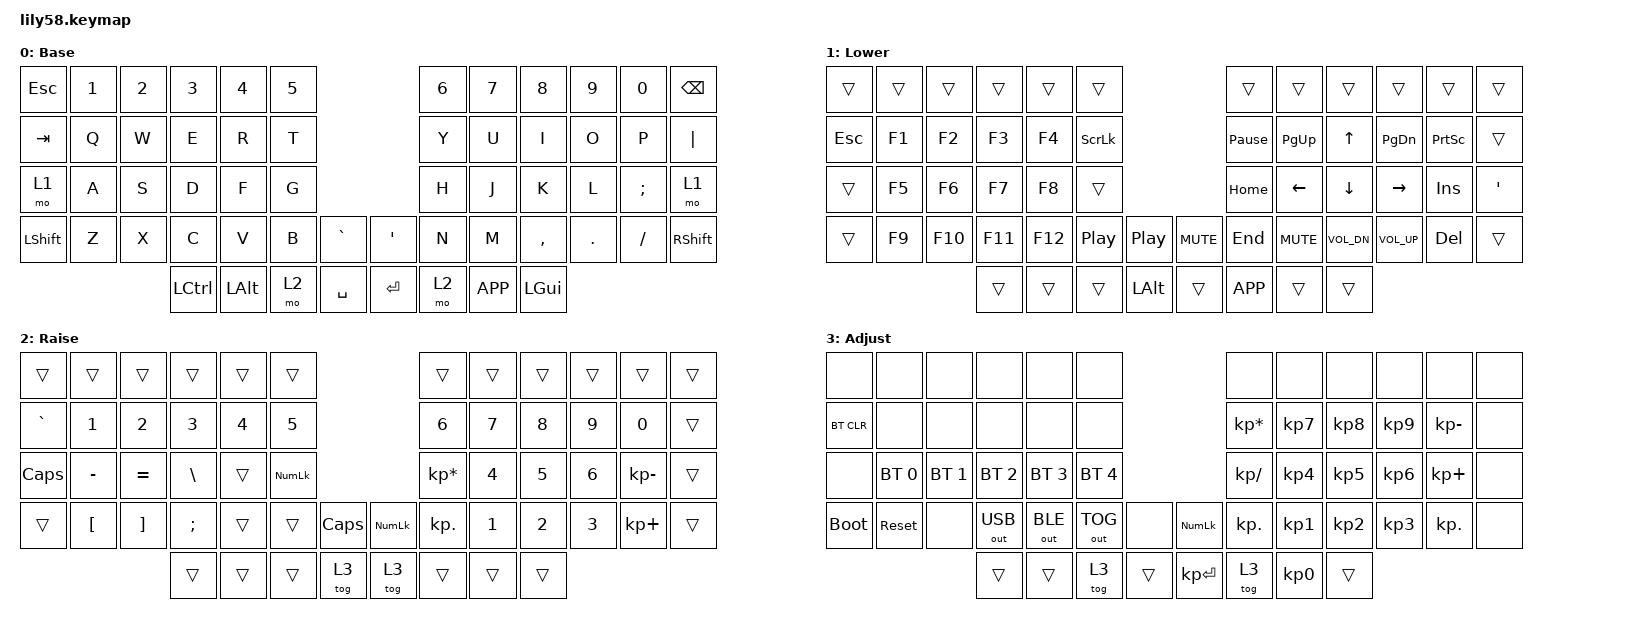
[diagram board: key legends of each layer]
/*
 * Copyright (c) 2020 The ZMK Contributors
 *
 * SPDX-License-Identifier: MIT
 */

#include <behaviors.dtsi>
#include <dt-bindings/zmk/keys.h>
#include <dt-bindings/zmk/bt.h>
#include <dt-bindings/zmk/ext_power.h>
#include <dt-bindings/zmk/outputs.h>

/ {
    keymap {
        compatible = "zmk,keymap";
        default_layer {
            label = "Base";
            bindings = <
//╭──────────┬──────────┬──────────┬──────────┬──────────┬──────────╮                         ╭──────────┬──────────┬──────────┬──────────┬──────────┬──────────╮
//│ ESC      │  1       │  2       │  3       │  4       │  5       │                         │  6       │  7       │  8       │  9       │  0       │BACKSPACE │
    &kp ESC    &kp N1     &kp N2     &kp N3     &kp N4     &kp N5                               &kp N6     &kp N7     &kp N8     &kp N9     &kp N0     &kp BSPC
//├──────────┼──────────┼──────────┼──────────┼──────────┤──────────┤                         ├──────────┼──────────┼──────────┼──────────┼──────────┤──────────┤
//│ TAB      │  Q       │  W       │  E       │  R       │  T       │                         │  Y       │  U       │  I       │  O       │  P       │  "|"     │
    &kp TAB    &kp Q      &kp W      &kp E      &kp R      &kp T                                &kp Y      &kp U      &kp I      &kp O      &kp P      &kp PIPE 
//├──────────┼──────────┼──────────┼──────────┼──────────┤──────────┤                         ├──────────┼──────────┼──────────┼──────────┼──────────┤──────────┤
//│ LOWER    │  A       │  S       │  D       │  F       │  G       │                         │  H       │  J       │  K       │  L       │  : ;     │ LOWER    │
    &mo 1      &kp A      &kp S      &kp D      &kp F      &kp G                                &kp H      &kp J      &kp K      &kp L      &kp SEMI   &mo 1
//├──────────┼──────────┼──────────┼──────────┼──────────┼──────────┼──────────╮   ╭──────────┼──────────┼──────────┼──────────┼──────────┼──────────┤──────────┤
//│ L SHIFT  │  Z       │  X       │  C       │  V       │  B       │  ` ~     │   │  ' "     │  N       │  M       │ , <      │ . >      │  ? /     │ R SHIFT  │           
    &kp LSHFT  &kp Z      &kp X      &kp C      &kp V      &kp B       &kp GRAVE     &kp APOS   &kp N      &kp M      &kp COMMA  &kp DOT    &kp FSLH   &kp RSHFT
//╰──────────┴──────────┴──────────┼──────────┼──────────┼──────────┤──────────┤   ├──────────├──────────┼──────────┼──────────┼──────────┴──────────┴──────────╯
//                                 │ L CTRL   │ L ALT    │ RAISE    │ SPACE    │   │ ENTER    │ RAISE    │ MENU     │ WIN      │          
                                     &kp LCTRL  &kp LALT   &mo 2      &kp SPACE      &kp ENTER  &mo 2      &kp K_APP  &kp LGUI
//                                 ╰──────────┴──────────┴──────────┴──────────╯   ╰──────────┴──────────┴──────────┴──────────╯
            >;
        };
        lower_layer {
            label = "Lower";
            bindings = <
//╭──────────┬──────────┬──────────┬──────────┬──────────┬──────────╮                         ╭──────────┬──────────┬──────────┬──────────┬──────────┬──────────╮
//│          │          │          │          │          │          │                         │          │          │          │          │          │          │
    &trans     &trans     &trans     &trans     &trans     &trans                               &trans     &trans     &trans     &trans     &trans     &trans
//├──────────┼──────────┼──────────┼──────────┼──────────┤──────────┤                         ├──────────┼──────────┼──────────┼──────────┼──────────┤──────────┤
//│ ESC      │  F1      │  F2      │  F3      │  F4      │SCROLLOCK │                         │PAUSEBREAK│  PG UP   │  UP      │  PG DOWN │  PRINT   │          │
    &kp ESC    &kp F1     &kp F2     &kp F3     &kp F4     &kp SLCK                       &kp PAUSE_BREAK  &kp PG_UP  &kp UP     &kp PG_DN  &kp PSCRN  &trans
//├──────────┼──────────┼──────────┼──────────┼──────────┤──────────┤                         ├──────────┼──────────┼──────────┼──────────┼──────────┤──────────┤
//│          │  F5      │  F6      │  F7      │  F8      │          │                         │  HOME    │  LEFT    │  DOWN    │  RIGHT   │  INSERT  │ ' "      │
    &trans     &kp F5     &kp F6     &kp F7     &kp F8     &trans                               &kp HOME   &kp LEFT   &kp DOWN   &kp RIGHT  &kp INS    &kp APOS
//├──────────┼──────────┼──────────┼──────────┼──────────┼──────────┼──────────╮   ╭──────────┼──────────┼──────────┼──────────┼──────────┼──────────┤──────────┤
//│          │  F9      │  F10     │  F11     │  F12     │PLAY/PAUSE│PLAY/PAUSE│   │ MUTE     │  END     │  MUTE    │ VOL -    │ VOL +    │  DELETE  │          │           
    &trans     &kp F9     &kp F10    &kp F11     &kp F12   &kp C_PP   &kp C_PP      &kp C_MUTE  &kp END   &kp C_MUTE &kp C_VOL_DN &kp C_VOL_UP &kp DEL &trans
//╰──────────┴──────────┴──────────┼──────────┼──────────┼──────────┤──────────┤   ├──────────├──────────┼──────────┼──────────┼──────────┴──────────┴──────────╯
//                                 │          │          │          │ L ALT    │   │          │ MENU     │          │          │          
                                     &trans     &trans     &trans     &kp LALT        &trans    &kp K_APP  &trans     &trans
//                                 ╰──────────┴──────────┴──────────┴──────────╯   ╰──────────┴──────────┴──────────┴──────────╯
            >;
        };
        raise_layer {
            label = "Raise";
            bindings = <
//╭──────────┬──────────┬──────────┬──────────┬──────────┬──────────╮                         ╭──────────┬──────────┬──────────┬──────────┬──────────┬──────────╮
//│          │          │          │          │          │          │                         │          │          │          │          │          │          │
    &trans     &trans     &trans     &trans     &trans     &trans                               &trans     &trans     &trans     &trans     &trans     &trans
//├──────────┼──────────┼──────────┼──────────┼──────────┤──────────┤                         ├──────────┼──────────┼──────────┼──────────┼──────────┤──────────┤
//│ ` ~      │  1 !     │  2 @     │  3 #     │  4 $     │  5 %     │                         │  6 ^     │  7 &     │  8 *     │  9 (     │  0 )     │          │
    &kp GRAVE  &kp N1     &kp N2     &kp N3     &kp N4     &kp N5                               &kp N6     &kp N7     &kp N8     &kp N9     &kp N0     &trans
//├──────────┼──────────┼──────────┼──────────┼──────────┤──────────┤                         ├──────────┼──────────┼──────────┼──────────┼──────────┤──────────┤
//│ CAPS     │ - _      │  = +     │  \ |     │          │ NUM LOCK │                         │ NUM *    │  4 $     │ 5 %      │  6 ^     │  NUM -   │          │
    &kp CAPS   &kp MINUS  &kp EQUAL  &kp BSLH   &trans    &kp KP_NUM                        &kp KP_MULTIPLY &kp N4    &kp N5     &kp N6     &kp KP_MINUS &trans
//├──────────┼──────────┼──────────┼──────────┼──────────┼──────────┼──────────╮   ╭──────────┼──────────┼──────────┼──────────┼──────────┼──────────┤──────────┤
//│          │ [ {      │  ] }     │  ; :     │          │          │ CAPS     │   │ NUM LOCK │ NUM .    │ 1 !      │ 2 @      │ 3 #      │  NUM +   │          │           
    &trans     &kp LBKT   &kp RBKT   &kp SEMI   &trans     &trans     &kp CAPS      &kp KP_NUM &kp KP_DOT  &kp N1     &kp N2     &kp N3     &kp KP_PLUS  &trans
//╰──────────┴──────────┴──────────┼──────────┼──────────┼──────────┤──────────┤   ├──────────├──────────┼──────────┼──────────┼──────────┴──────────┴──────────╯
//                                 │          │          │          │ ADJUST TG│   │ ADJUST TG│          │          │          │          
                                     &trans     &trans     &trans     &tog 3         &tog 3    &trans     &trans     &trans
//                                 ╰──────────┴──────────┴──────────┴──────────╯   ╰──────────┴──────────┴──────────┴──────────╯
            >;
        };
        adj_layer {
            label = "Adjust";
            bindings = <
//╭──────────┬──────────┬──────────┬──────────┬──────────┬──────────╮                         ╭──────────┬──────────┬──────────┬──────────┬──────────┬──────────╮
//│          │          │          │          │          │          │                         │          │          │          │          │          │          │
     &none      &none      &none      &none      &none      &none                                &none      &none      &none      &none      &none      &none 
//├──────────┼──────────┼──────────┼──────────┼──────────┤──────────┤                         ├──────────┼──────────┼──────────┼──────────┼──────────┤──────────┤
//│ BT CLEAR │          │          │          │          │          │                         │  NUM *   │  NUM 7   │  NUM 8   │  NUM 9   │  NUM -   │          │
    &bt BT_CLR  &none      &none      &none      &none      &none                             &kp KP_MULTIPLY  &kp KP_N7  &kp KP_N8  &kp KP_N9  &kp KP_MINUS  &none
//├──────────┼──────────┼──────────┼──────────┼──────────┤──────────┤                         ├──────────┼──────────┼──────────┼──────────┼──────────┤──────────┤
//│          │ BLE 1    │ BLE 2    │ BLE 3    │ BLE 4    │ BLE 5    │                         │ NUM /    │  NUM 4   │  NUM 5   │  NUM 6   │  NUM +   │          │
    &none &bt BT_SEL 0 &bt BT_SEL 1 &bt BT_SEL 2 &bt BT_SEL 3 &bt BT_SEL 4                   &kp KP_DIVIDE &kp KP_N4  &kp KP_N5  &kp KP_N6  &kp KP_PLUS &none
//├──────────┼──────────┼──────────┼──────────┼──────────┼──────────┼──────────╮   ╭──────────┼──────────┼──────────┼──────────┼──────────┼──────────┤──────────┤
//│ BOOT LOAD│ RESET    │          │ USB OUT  │ BLE OUT  │USB BLE TG│          │   │ NUM LOCK │ NUM .    │  NUM 1   │  NUM 2   │  NUM 3   │  NUM .   │          │           
  &bootloader  &sys_reset   &none   &out OUT_USB &out OUT_BLE &out OUT_TOG &none      &kp KP_NUM &kp KP_DOT &kp KP_N1  &kp KP_N2  &kp KP_N3  &kp KP_DOT  &none
//╰──────────┴──────────┴──────────┼──────────┼──────────┼──────────┤──────────┤   ├──────────├──────────┼──────────┼──────────┼──────────┴──────────┴──────────╯
//                                 │          │          │ ADJUST TG│          │   │ NUM ENTER│ ADJUST TG│ NUM 0    │          │          
                                     &trans     &trans     &tog 3     &trans         &kp KP_ENTER &tog 3    &kp KP_N0   &trans
//                                 ╰──────────┴──────────┴──────────┴──────────╯   ╰──────────┴──────────┴──────────┴──────────╯
            >;
        };
    };
};
